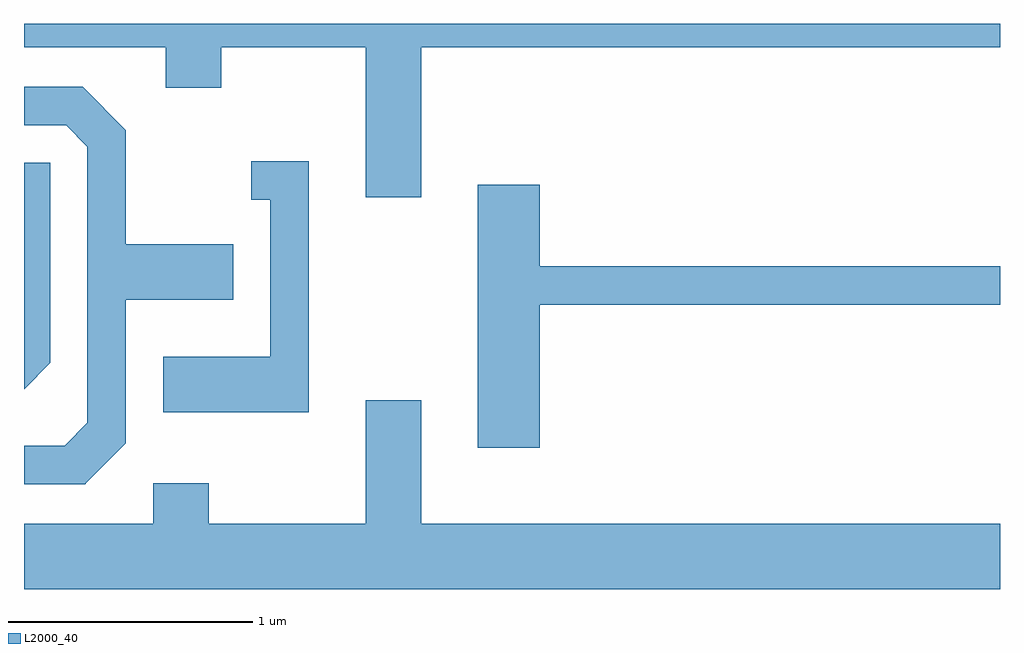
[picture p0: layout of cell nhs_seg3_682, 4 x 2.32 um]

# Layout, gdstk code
import gdstk
lib = gdstk.Library(unit=1e-6, precision=1e-09)
def P(c, l, *ps):  # polygons
    for p in ps: c.add(gdstk.Polygon(p, *l))
L2000_40 = (2000, 40)

nhs_seg3_682 = lib.new_cell('nhs_seg3_682')
P(nhs_seg3_682, L2000_40, [(207.239,1123.796),(209.611,1123.796),(209.611,1123.892),(205.611,1123.892),(205.611,1123.796),(206.191,1123.796),(206.191,1123.631),(206.419,1123.631),(206.419,1123.796),(207.011,1123.796),(207.011,1123.181),(207.239,1123.181)],
  [(205.868,1122.013),(206.029,1122.174),(206.029,1122.761),(206.469,1122.761),(206.469,1122.989),(206.029,1122.989),(206.029,1123.457),(205.852,1123.634),(205.611,1123.634),(205.611,1123.476),(205.784,1123.476),(205.871,1123.389),(205.871,1122.257),(205.779,1122.164),(205.611,1122.164),(205.611,1122.006),(205.862,1122.006)],
  [(206.779,1123.329),(206.543,1123.329),(206.543,1123.171),(206.621,1123.171),(206.621,1122.529),(206.181,1122.529),(206.181,1122.301),(206.779,1122.301)],
  [(205.719,1122.504),(205.719,1123.324),(205.611,1123.324),(205.611,1122.395)],
  [(207.724,1122.741),(209.611,1122.741),(209.611,1122.899),(207.724,1122.899),(207.724,1123.234),(207.471,1123.234),(207.471,1122.156),(207.724,1122.156)],
  [(209.611,1121.844),(207.239,1121.844),(207.239,1122.349),(207.011,1122.349),(207.011,1121.844),(206.369,1121.844),(206.369,1122.009),(206.141,1122.009),(206.141,1121.844),(205.611,1121.844),(205.611,1121.576),(209.611,1121.576)])

lib.write_gds('nhs_seg3_682.gds')
